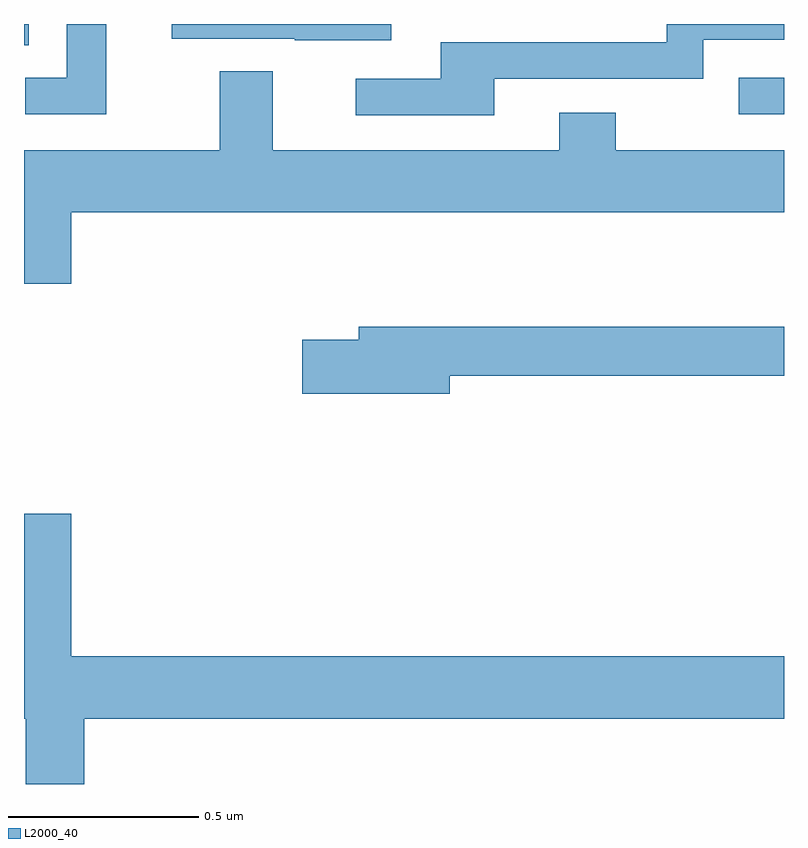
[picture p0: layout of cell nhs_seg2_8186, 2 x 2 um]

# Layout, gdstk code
import gdstk
lib = gdstk.Library(unit=1e-6, precision=1e-09)
def R(c, l, rs):  # rectangles x0, y0, x1, y1
    for r in rs: c.add(gdstk.rectangle(r[:2], r[2:], *l))
def P(c, l, *ps):  # polygons
    for p in ps: c.add(gdstk.Polygon(p, *l))
L2000_40 = (2000, 40)

nhs_seg2_8186 = lib.new_cell('nhs_seg2_8186')
R(nhs_seg2_8186, L2000_40, [(214.881,646.563,215,646.659), (213,646.744,213.012,646.8)])
P(nhs_seg2_8186, L2000_40, [(213.217,646.8),(213.113,646.8),(213.113,646.659),(213.003,646.659),(213.003,646.563),(213.217,646.563)],
  [(213.967,646.8),(213.389,646.8),(213.389,646.761),(213.713,646.761),(213.713,646.757),(213.967,646.757)],
  [(214.237,646.656),(214.788,646.656),(214.788,646.758),(215,646.758),(215,646.8),(214.692,646.8),(214.692,646.752),(214.097,646.752),(214.097,646.656),(213.873,646.656),(213.873,646.56),(214.237,646.56)],
  [(213.124,646.304),(215,646.304),(215,646.468),(214.557,646.468),(214.557,646.567),(214.409,646.567),(214.409,646.468),(213.655,646.468),(213.655,646.676),(213.515,646.676),(213.515,646.468),(213,646.468),(213,646.116),(213.124,646.116)],
  [(214.12,645.874),(215,645.874),(215,646.003),(213.881,646.003),(213.881,645.969),(213.732,645.969),(213.732,645.827),(214.12,645.827)],
  [(213.158,644.972),(215,644.972),(215,645.136),(213.124,645.136),(213.124,645.511),(213,645.511),(213,644.972),(213.005,644.972),(213.005,644.8),(213.158,644.8)])

lib.write_gds('nhs_seg2_8186.gds')
